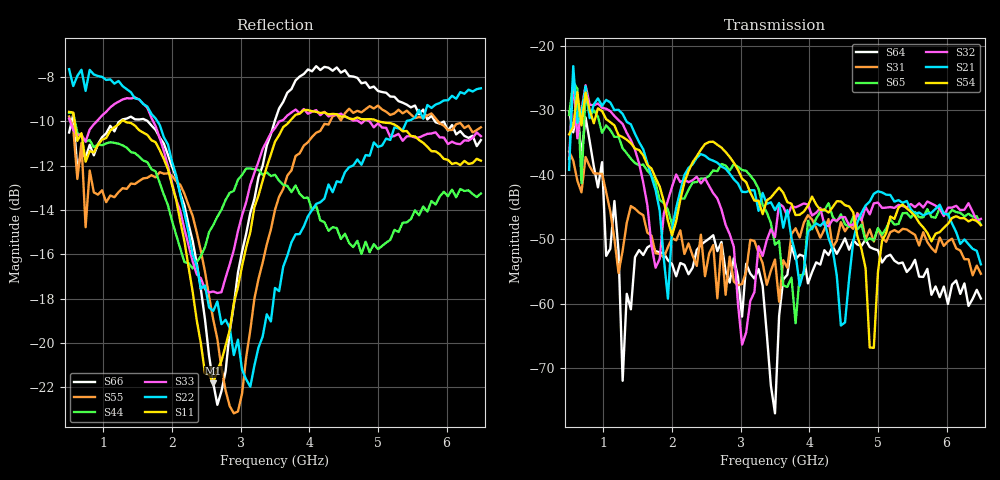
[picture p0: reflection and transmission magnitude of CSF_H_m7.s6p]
!Keysight Technologies,M9804A,MY58100912,A.14.10.03
!Date: Thursday, April 27, 2023 10:28:33
!Correction: S11(C  6-Port  )
!S12(C  6-Port  )
!S13(C  6-Port  )
!S14(C  6-Port  )
!S15(C  6-Port  )
!S16(C  6-Port  )
!S21(C  6-Port  )
!S22(C  6-Port  )
!S23(C  6-Port  )
!S24(C  6-Port  )
!S25(C  6-Port  )
!S26(C  6-Port  )
!S31(C  6-Port  )
!S32(C  6-Port  )
!S33(C  6-Port  )
!S34(C  6-Port  )
!S35(C  6-Port  )
!S36(C  6-Port  )
!S41(C  6-Port  )
!S42(C  6-Port  )
!S43(C  6-Port  )
!S44(C  6-Port  )
!S45(C  6-Port  )
!S46(C  6-Port  )
!S51(C  6-Port  )
!S52(C  6-Port  )
!S53(C  6-Port  )
!S54(C  6-Port  )
!S55(C  6-Port  )
!S56(C  6-Port  )
!S61(C  6-Port  )
!S62(C  6-Port  )
!S63(C  6-Port  )
!S64(C  6-Port  )
!S65(C  6-Port  )
!S66(C  6-Port  )
!S6P File: Measurement: :
# Hz S  RI  R 50
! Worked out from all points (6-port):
!   101 points, 500 MHz to 6.5 GHz, reference 50 ohm
!   strongest paths, dB at 500 MHz, 2 GHz, 3.5 GHz, 5 GHz, 6.5 GHz:
!     S54: -33.7, -49.4, -42.7, -55.1, -47.8
!     S21: -39.2, -48.4, -45.5, -42.6, -53.9
!     S32: -37.5, -41.8, -49.7, -44.3, -46.9
!     S65: -30.7, -47.8, -50.9, -48.3, -47.8
!     S31: -36.4, -49.8, -53.2, -48.3, -55.4
!     S64: -30.2, -53.9, -77.0, -51.7, -59.2
!   lowest |S11| = -21.8 dB at 2.6 GHz (marker M1), VSWR 1.18, Z = 42.7 + j1.97 ohm
!   |S11| at or under -10 dB: 578.9 MHz to 1.261 GHz (681.7 MHz wide, 74.1 % of centre); 1.315 GHz to 3.711 GHz (2.396 GHz wide, 95.3 % of centre); 5.012 GHz to end of sweep
